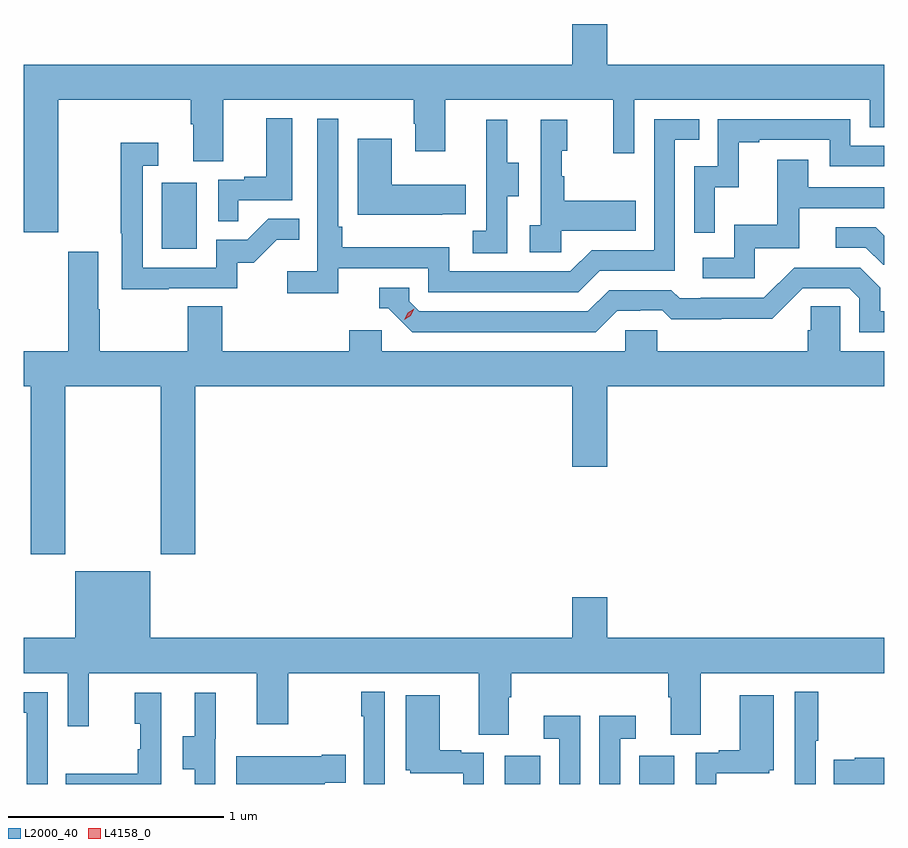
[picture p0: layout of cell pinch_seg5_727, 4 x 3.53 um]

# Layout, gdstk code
import gdstk
lib = gdstk.Library(unit=1e-6, precision=1e-09)
def R(c, l, rs):  # rectangles x0, y0, x1, y1
    for r in rs: c.add(gdstk.rectangle(r[:2], r[2:], *l))
def P(c, l, *ps):  # polygons
    for p in ps: c.add(gdstk.Polygon(p, *l))
L2000_40 = (2000, 40)
L4158_0 = (4158, 0)

pinch_seg5_727 = lib.new_cell('pinch_seg5_727')
R(pinch_seg5_727, L2000_40, [(824.036,893.54,824.2,893.671), (824.66,893.54,824.824,893.671), (822.44,896.028,822.604,896.335)])
P(pinch_seg5_727, L2000_40, [(821.959,896.72),(822.575,896.72),(822.575,896.608),(822.587,896.608),(822.587,896.434),(822.727,896.434),(822.727,896.72),(823.612,896.72),(823.612,896.609),(823.619,896.609),(823.619,896.481),(823.759,896.481),(823.759,896.72),(824.54,896.72),(824.54,896.472),(824.637,896.472),(824.637,896.72),(825.732,896.72),(825.732,896.593),(825.799,896.593),(825.799,896.884),(824.512,896.884),(824.512,897.073),(824.348,897.073),(824.348,896.884),(821.799,896.884),(821.799,896.106),(821.959,896.106)],
  [(822.797,896.253),(823.048,896.253),(823.048,896.635),(822.926,896.635),(822.926,896.362),(822.823,896.362),(822.823,896.349),(822.702,896.349),(822.702,896.155),(822.797,896.155)],
  [(823.262,895.938),(823.68,895.938),(823.68,895.827),(824.377,895.827),(824.476,895.926),(824.826,895.926),(824.826,896.535),(824.939,896.535),(824.939,896.631),(824.73,896.631),(824.73,896.022),(824.439,896.022),(824.34,895.923),(823.776,895.923),(823.776,896.035),(823.28,896.035),(823.28,896.131),(823.26,896.131),(823.26,896.632),(823.164,896.632),(823.164,895.924),(823.023,895.924),(823.023,895.822),(823.262,895.822)],
  [(825.012,896.315),(825.122,896.315),(825.122,896.523),(825.217,896.523),(825.217,896.535),(825.546,896.535),(825.546,896.412),(825.799,896.412),(825.799,896.508),(825.642,896.508),(825.642,896.631),(825.024,896.631),(825.024,896.412),(824.916,896.412),(824.916,896.103),(825.012,896.103)],
  [(824.298,896.111),(824.645,896.111),(824.645,896.251),(824.311,896.251),(824.311,896.366),(824.301,896.366),(824.301,896.484),(824.326,896.484),(824.326,896.629),(824.202,896.629),(824.202,896.138),(824.151,896.138),(824.151,896.013),(824.298,896.013)],
  [(824.046,896.272),(824.101,896.272),(824.101,896.427),(824.047,896.427),(824.047,896.629),(823.949,896.629),(823.949,896.415),(823.95,896.415),(823.95,896.111),(823.887,896.111),(823.887,896.008),(824.046,896.008)],
  [(823.745,896.189),(823.853,896.189),(823.853,896.326),(823.51,896.326),(823.51,896.539),(823.352,896.539),(823.352,896.186),(823.745,896.186)],
  [(822.473,895.845),(822.792,895.845),(822.792,895.962),(822.868,895.962),(822.975,896.069),(823.079,896.069),(823.079,896.168),(822.936,896.168),(822.838,896.07),(822.693,896.07),(822.693,895.941),(822.351,895.941),(822.351,896.415),(822.424,896.415),(822.424,896.521),(822.25,896.521),(822.25,896.101),(822.255,896.101),(822.255,895.84),(822.473,895.84)],
  [(825.198,896.031),(825.403,896.031),(825.403,896.217),(825.799,896.217),(825.799,896.313),(825.445,896.313),(825.445,896.443),(825.301,896.443),(825.301,896.14),(825.102,896.14),(825.102,895.986),(824.955,895.986),(824.955,895.89),(825.198,895.89)],
  [(825.799,896.088),(825.76,896.127),(825.573,896.127),(825.573,896.034),(825.714,896.034),(825.794,895.954),(825.799,895.954)],
  [(821.991,895.388),(822.436,895.388),(822.436,894.609),(822.596,894.609),(822.596,895.388),(824.348,895.388),(824.348,895.014),(824.512,895.014),(824.512,895.388),(825.799,895.388),(825.799,895.552),(825.594,895.552),(825.594,895.76),(825.457,895.76),(825.457,895.65),(825.443,895.65),(825.443,895.552),(824.745,895.552),(824.745,895.65),(824.595,895.65),(824.595,895.552),(823.464,895.552),(823.464,895.65),(823.313,895.65),(823.313,895.552),(822.722,895.552),(822.722,895.76),(822.562,895.76),(822.562,895.552),(822.153,895.552),(822.153,895.748),(822.145,895.748),(822.145,896.014),(822.005,896.014),(822.005,895.552),(821.799,895.552),(821.799,895.388),(821.831,895.388),(821.831,894.609),(821.991,894.609)],
  [(824.557,895.74),(824.664,895.74),(824.664,895.743),(824.767,895.743),(824.809,895.701),(825.042,895.701),(825.042,895.703),(825.278,895.703),(825.42,895.845),(825.636,895.845),(825.684,895.797),(825.684,895.641),(825.799,895.641),(825.799,895.737),(825.781,895.737),(825.781,895.847),(825.687,895.941),(825.381,895.941),(825.24,895.8),(824.947,895.8),(824.947,895.797),(824.848,895.797),(824.809,895.836),(824.52,895.836),(824.421,895.737),(823.638,895.737),(823.59,895.785),(823.59,895.848),(823.451,895.848),(823.451,895.752),(823.494,895.752),(823.605,895.641),(824.458,895.641)],
  [(824.053,893.944),(824.066,893.944),(824.066,894.056),(824.795,894.056),(824.795,893.944),(824.807,893.944),(824.807,893.77),(824.947,893.77),(824.947,894.056),(825.799,894.056),(825.799,894.22),(824.512,894.22),(824.512,894.409),(824.348,894.409),(824.348,894.22),(822.388,894.22),(822.388,894.529),(822.038,894.529),(822.038,894.22),(821.799,894.22),(821.799,894.056),(822.003,894.056),(822.003,893.808),(822.101,893.808),(822.101,894.056),(822.881,894.056),(822.881,893.817),(823.029,893.817),(823.029,894.056),(823.913,894.056),(823.913,893.77),(824.053,893.77)],
  [(823.476,893.968),(823.368,893.968),(823.368,893.855),(823.38,893.855),(823.38,893.54),(823.476,893.54)],
  [(825.48,893.74),(825.493,893.74),(825.493,893.968),(825.384,893.968),(825.384,893.54),(825.48,893.54)],
  [(821.91,893.967),(821.799,893.967),(821.799,893.871),(821.814,893.871),(821.814,893.54),(821.91,893.54)],
  [(822.69,893.751),(822.692,893.751),(822.692,893.965),(822.593,893.965),(822.593,893.763),(822.539,893.763),(822.539,893.608),(822.594,893.608),(822.594,893.54),(822.69,893.54)],
  [(822.438,893.965),(822.314,893.965),(822.314,893.82),(822.34,893.82),(822.34,893.702),(822.33,893.702),(822.33,893.587),(821.995,893.587),(821.995,893.54),(822.438,893.54)],
  [(823.938,893.685),(823.832,893.685),(823.832,893.698),(823.732,893.698),(823.732,893.953),(823.574,893.953),(823.574,893.604),(823.596,893.604),(823.596,893.589),(823.843,893.589),(823.843,893.54),(823.938,893.54)],
  [(825.017,893.589),(825.264,893.589),(825.264,893.604),(825.286,893.604),(825.286,893.953),(825.128,893.953),(825.128,893.698),(825.029,893.698),(825.029,893.685),(824.922,893.685),(824.922,893.54),(825.017,893.54)],
  [(824.571,893.751),(824.644,893.751),(824.644,893.857),(824.475,893.857),(824.475,893.54),(824.571,893.54)],
  [(824.385,893.857),(824.217,893.857),(824.217,893.751),(824.289,893.751),(824.289,893.54),(824.385,893.54)],
  [(823.197,893.546),(823.295,893.546),(823.295,893.676),(823.184,893.676),(823.184,893.668),(822.787,893.668),(822.787,893.54),(823.197,893.54)],
  [(825.799,893.662),(825.663,893.662),(825.663,893.652),(825.565,893.652),(825.565,893.54),(825.799,893.54)])
P(pinch_seg5_727, L4158_0, [(823.568,895.698),(823.568,895.698),(823.584,895.731),(823.615,895.75),(823.615,895.75),(823.615,895.749),(823.599,895.717),(823.568,895.698)])

lib.write_gds('pinch_seg5_727.gds')
